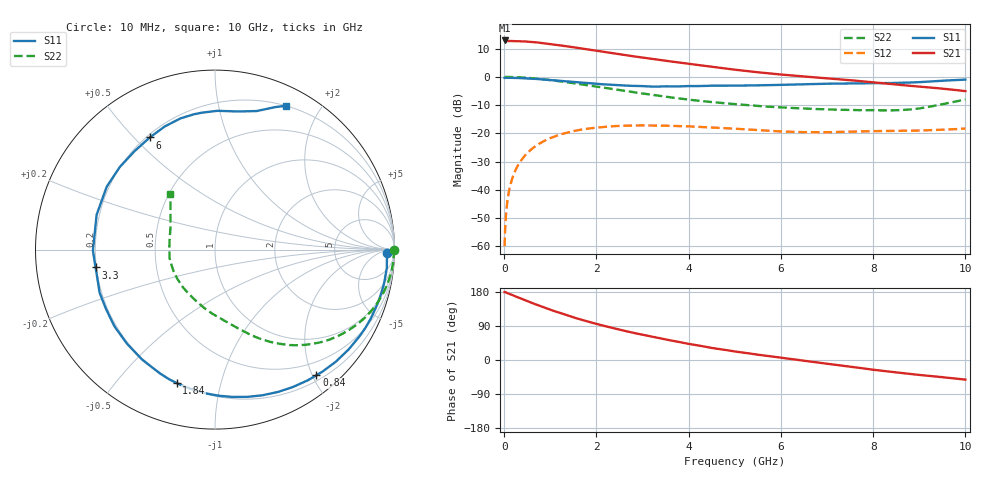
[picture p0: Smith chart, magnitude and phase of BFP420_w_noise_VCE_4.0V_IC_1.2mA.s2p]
! Infineon Technologies  Discrete & RF Semiconductors
! BFP420
! VCE =  4.0 V,  IC =  1.2 mA
! Common Emitter S-Parameters:  Jan 2016
# GHz  S  MA  R  50
!  f  S11  S21  S12  S22
! GHz  MAG  ANG  MAG  ANG  MAG  ANG  MAG  ANG
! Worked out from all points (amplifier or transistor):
!   233 points, 10 MHz to 10 GHz, reference 50 ohm
!   highest |S21| = 12.9 dB at 10 MHz (marker M1)
!   |S21| within 3 dB of that: start of sweep to 1.742 GHz
!   unconditionally stable (mu >= 1): 4.253 GHz to end of sweep
!   at 200 MHz: K = 0.03, MSG = 23.8 dB, |S12| = -34.8 dB
!   at 1.74 GHz: K = 0.28, MSG = 14.2 dB, |S12| = -18.5 dB
!   at 10 GHz: K = 1.32, MAG = 3.2 dB, |S12| = -18.3 dB
!   lowest NFmin = 0.53 dB at 900 MHz
!   S11 on the Smith chart (normalised r, x): 10 MHz: 39, -18; 840 MHz: 0.28, -2.06; 1.84 GHz: 0.20, -0.73; 3.3 GHz: 0.20, -0.07; 6 GHz: 0.21, +0.56; 10 GHz: 0.20, +1.59
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0.01  0.9589 -1.1  4.416 179.3  0.001 78.6  0.9966 0.0
0.02  0.9612 -1.2  4.268 179.3  0.0019 73.2  0.9959 -0.6
0.03  0.9604 -1.8  4.277 178.7  0.0027 79.9  0.9961 -0.9
0.07  0.9603 -4.2  4.306 176.6  0.0063 85.0  0.9961 -2.2
0.19  0.9602 -11.6  4.321 170.8  0.0172 82.4  0.9919 -6.1
0.45  0.9445 -27.5  4.243 158.0  0.0403 73.5  0.9694 -14.3
0.64  0.9238 -39.1  4.125 148.8  0.056 66.7  0.9421 -20.1
0.84  0.8995 -51.1  3.963 139.6  0.0711 59.9  0.9074 -25.9
1.2  0.8536 -72.0  3.634 124.3  0.0944 48.4  0.8354 -35.4
1.4  0.8268 -83.2  3.442 116.3  0.1047 42.4  0.7937 -40.1
1.68  0.7917 -97.9  3.186 106.2  0.1165 34.7  0.7355 -46.1
1.84  0.7732 -106.1  3.036 100.6  0.1217 30.6  0.7036 -49.2
2.2  0.735 -123.6  2.743 89.0  0.1308 22.1  0.636 -55.6
2.6  0.7048 -142.5  2.451 77.2  0.1365 13.4  0.5668 -62.2
3.3  0.6726 -171.5  2.026 59.4  0.1367 1.4  0.4685 -72.3
3.4  0.6748 -175.5  1.977 56.8  0.1365 -0.2  0.4562 -73.8
4  0.6875 163.6  1.711 42.5  0.1327 -7.9  0.3947 -83.4
5.1  0.7019 137.0  1.312 20.9  0.1193 -17.2  0.3238 -102.7
6  0.7227 120.2  1.1 6.0  0.1077 -19.6  0.2876 -120.1
6.8  0.7484 107.7  0.969 -6.7  0.1047 -18.6  0.2686 -137.4
8.4  0.7773 82.3  0.744 -31.3  0.1102 -19.3  0.2548 176.6
10  0.8938 63.7  0.559 -51.7  0.1213 -19.6  0.3966 128.9
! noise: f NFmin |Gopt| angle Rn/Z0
0.9  0.53  0.62  33  0.31
1.8  1.1  0.4  77  0.24
2.4  1.23  0.41  100  0.2
3  1.51  0.41  132  0.14
4  1.8  0.44  -175  0.09
5  2.23  0.45  -132  0.38
6  3.18  0.57  -116  0.44
